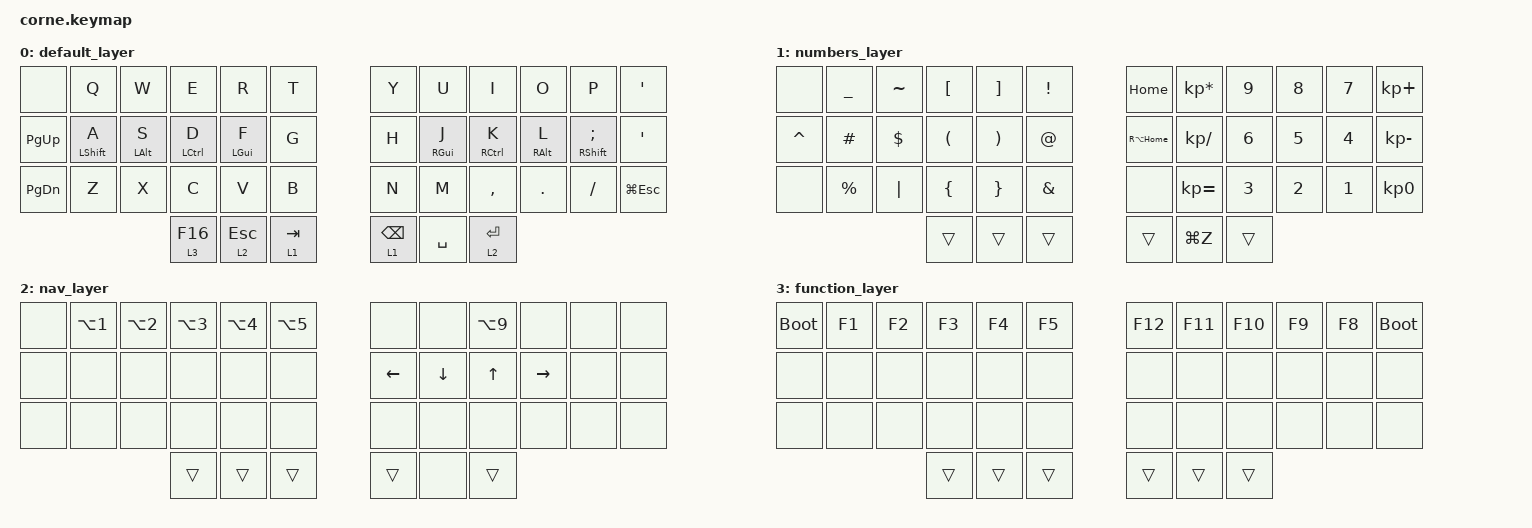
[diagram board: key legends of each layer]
/*
 * Converted from Vial layout to ZMK
 * Original: keyboard.vil
 */

#include <behaviors.dtsi>
#include <dt-bindings/zmk/keys.h>
#include <dt-bindings/zmk/bt.h>

/ {
    keymap {
        compatible = "zmk,keymap";

        // Layer 0: Base Layer
        default_layer {
            bindings = <
   &none     &kp Q         &kp W         &kp E         &kp R           &kp T              &kp Y     &kp U           &kp I         &kp O         &kp P          &kp SQT
   &kp PG_UP &mt LSHFT A   &mt LALT S    &mt LCTRL D   &mt LGUI F      &kp G              &kp H     &mt RGUI J      &mt RCTRL K   &mt RALT L    &mt RSHFT SEMICOLON &kp SQT
   &kp PG_DN &kp Z         &kp X         &kp C         &kp V           &kp B              &kp N     &kp M           &kp COMMA     &kp DOT       &kp SLASH      &kp LG(ESC)
                                         &lt 3 F16     &lt 2 ESC       &lt 1 TAB          &lt 1 BSPC &kp SPACE     &lt 2 RET
            >;
        };

        // Layer 1: Numbers and Symbols
        numbers_layer {
            bindings = <
   &none      &kp UNDER     &kp TILDE     &kp LBKT      &kp RBKT        &kp EXCL           &kp HOME  &kp KP_MULTIPLY &kp N9        &kp N8        &kp N7         &kp KP_PLUS
   &kp CARET  &kp HASH      &kp DOLLAR    &kp LPAR      &kp RPAR        &kp AT             &kp RA(HOME) &kp KP_DIVIDE &kp N6        &kp N5        &kp N4         &kp KP_MINUS
   &none      &kp PRCNT     &kp PIPE      &kp LBRC      &kp RBRC        &kp AMPS           &none     &kp KP_EQUAL    &kp N3        &kp N2        &kp N1         &kp KP_N0
                                          &trans        &trans          &trans             &trans    &kp LG(Z)       &trans
            >;
        };

        // Layer 2: Navigation and Alt shortcuts
        nav_layer {
            bindings = <
   &none      &kp LA(N1)    &kp LA(N2)    &kp LA(N3)    &kp LA(N4)      &kp LA(N5)         &none     &none           &kp LA(N9)    &none         &none          &none
   &none      &none         &none         &none         &none           &none              &kp LEFT  &kp DOWN        &kp UP        &kp RIGHT     &none          &none
   &none      &none         &none         &none         &none           &none              &none     &none           &none         &none         &none          &none
                                          &trans        &trans          &trans             &trans    &none           &trans
            >;
        };

        // Layer 3: Function Keys + Bootloader
        function_layer {
            bindings = <
   &bootloader &kp F1       &kp F2        &kp F3        &kp F4          &kp F5             &kp F12   &kp F11         &kp F10       &kp F9        &kp F8         &bootloader
   &none      &none         &none         &none         &none           &none              &none     &none           &none         &none         &none          &none
   &none      &none         &none         &none         &none           &none              &none     &none           &none         &none         &none          &none
                                          &trans        &trans          &trans             &trans    &trans          &trans
            >;
        };
    };
};
